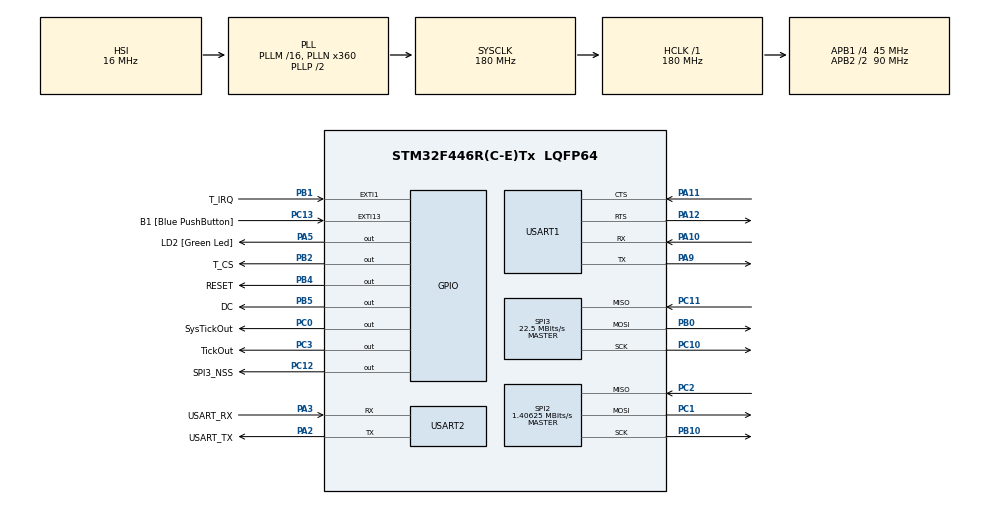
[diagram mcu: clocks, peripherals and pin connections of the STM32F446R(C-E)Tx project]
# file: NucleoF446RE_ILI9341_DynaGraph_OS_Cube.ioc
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Dma.Request0=SPI3_TX
Dma.SPI3_TX.0.Direction=DMA_MEMORY_TO_PERIPH
Dma.SPI3_TX.0.FIFOMode=DMA_FIFOMODE_ENABLE
Dma.SPI3_TX.0.FIFOThreshold=DMA_FIFO_THRESHOLD_FULL
Dma.SPI3_TX.0.Instance=DMA1_Stream5
Dma.SPI3_TX.0.MemBurst=DMA_MBURST_SINGLE
Dma.SPI3_TX.0.MemDataAlignment=DMA_MDATAALIGN_BYTE
Dma.SPI3_TX.0.MemInc=DMA_MINC_ENABLE
Dma.SPI3_TX.0.Mode=DMA_NORMAL
Dma.SPI3_TX.0.PeriphBurst=DMA_PBURST_SINGLE
Dma.SPI3_TX.0.PeriphDataAlignment=DMA_PDATAALIGN_BYTE
Dma.SPI3_TX.0.PeriphInc=DMA_PINC_DISABLE
Dma.SPI3_TX.0.Priority=DMA_PRIORITY_LOW
FREERTOS.CountingSemaphores01=waveSema,1,Dynamic,NULL
FREERTOS.Queues01=waveQueue,3,MSGQUEUE_WAVE_t,0,Dynamic,NULL,NULL
FREERTOS.Tasks01=taskGUI,24,1024,StartTaskGUI,Default,NULL,Dynamic,NULL,NULL;taskEsp32,24,1024,StartTaskEsp32,Default,NULL,Dynamic,NULL,NULL;taskWave,24,256,StartTaskWave,Default,NULL,Dynamic,NULL,NULL
FREERTOS.configUSE_NEWLIB_REENTRANT=1
Mcu.Family=STM32F4
Mcu.Name=STM32F446R(C-E)Tx
Mcu.Package=LQFP64
NVIC.DMA1_Stream5_IRQn=true\:5\:0\:false\:false\:true\:true\:false\:true\:true
NVIC.EXTI15_10_IRQn=true\:5\:0\:false\:false\:true\:true\:true\:true\:true
NVIC.EXTI1_IRQn=true\:5\:0\:false\:false\:true\:true\:true\:true\:true
NVIC.PriorityGroup=NVIC_PRIORITYGROUP_4
NVIC.SPI2_IRQn=true\:5\:0\:false\:false\:true\:true\:true\:true\:true
NVIC.SPI3_IRQn=true\:5\:0\:false\:false\:true\:true\:true\:true\:true
NVIC.TIM1_TRG_COM_TIM11_IRQn=true\:15\:0\:false\:false\:true\:false\:false\:true\:true
NVIC.TIM2_IRQn=true\:5\:0\:false\:false\:true\:true\:true\:true\:true
NVIC.TIM3_IRQn=true\:5\:0\:false\:false\:true\:true\:true\:true\:true
NVIC.TimeBase=TIM1_TRG_COM_TIM11_IRQn
NVIC.TimeBaseIP=TIM11
PA10.Mode=Asynchronous
PA10.Signal=USART1_RX
PA11.Mode=CTS_RTS
PA11.Signal=USART1_CTS
PA12.Mode=CTS_RTS
PA12.Signal=USART1_RTS
PA13.GPIO_Label=TMS
PA13.Signal=SYS_JTMS-SWDIO
PA14.GPIO_Label=TCK
PA14.Signal=SYS_JTCK-SWCLK
PA2.GPIO_Label=USART_TX
PA2.Mode=Asynchronous
PA2.Signal=USART2_TX
PA3.GPIO_Label=USART_RX
PA3.Mode=Asynchronous
PA3.Signal=USART2_RX
PA5.GPIO_Label=LD2 [Green Led]
PA5.Signal=GPIO_Output
PA9.Mode=Asynchronous
PA9.Signal=USART1_TX
PB0.GPIO_PuPd=GPIO_NOPULL
PB0.Mode=Full_Duplex_Master
PB0.Signal=SPI3_MOSI
PB1.GPIO_Label=T_IRQ
PB1.GPIO_ModeDefaultEXTI=GPIO_MODE_IT_FALLING
PB1.Signal=GPXTI1
PB10.GPIO_Mode=GPIO_MODE_AF_PP
PB10.GPIO_PuPd=GPIO_PULLUP
PB10.Mode=Full_Duplex_Master
PB10.Signal=SPI2_SCK
PB2.GPIO_Label=T_CS
PB2.GPIO_ModeDefaultOutputPP=GPIO_MODE_OUTPUT_PP
PB2.GPIO_PuPd=GPIO_NOPULL
PB2.PinState=GPIO_PIN_RESET
PB2.Signal=GPIO_Output
PB3.GPIO_Label=SWO
PB3.Signal=SYS_JTDO-SWO
PB4.GPIO_Label=RESET
PB4.Signal=GPIO_Output
PB5.GPIO_Label=DC
PB5.Signal=GPIO_Output
PC0.GPIO_Label=SysTickOut
PC0.Signal=GPIO_Output
PC1.GPIO_PuPd=GPIO_NOPULL
PC1.Mode=Full_Duplex_Master
PC1.Signal=SPI2_MOSI
PC10.GPIO_PuPd=GPIO_PULLUP
PC10.Mode=Full_Duplex_Master
PC10.Signal=SPI3_SCK
PC11.GPIO_PuPd=GPIO_NOPULL
PC11.Mode=Full_Duplex_Master
PC11.Signal=SPI3_MISO
PC12.GPIO_Label=SPI3_NSS
PC12.Signal=GPIO_Output
PC13.GPIO_Label=B1 [Blue PushButton]
PC13.GPIO_ModeDefaultEXTI=GPIO_MODE_IT_FALLING
PC13.Signal=GPXTI13
PC14-OSC32_IN.Mode=LSE-External-Oscillator
PC14-OSC32_IN.Signal=RCC_OSC32_IN
PC15-OSC32_OUT.Mode=LSE-External-Oscillator
PC15-OSC32_OUT.Signal=RCC_OSC32_OUT
PC2.GPIO_PuPd=GPIO_NOPULL
PC2.Mode=Full_Duplex_Master
PC2.Signal=SPI2_MISO
PC3.GPIO_Label=TickOut
PC3.PinState=GPIO_PIN_RESET
PC3.Signal=GPIO_Output
PH0-OSC_IN.Mode=HSE-External-Oscillator
PH0-OSC_IN.Signal=RCC_OSC_IN
PH1-OSC_OUT.Mode=HSE-External-Oscillator
PH1-OSC_OUT.Signal=RCC_OSC_OUT
ProjectManager.HeapSize=0x200
ProjectManager.StackSize=0x400
ProjectManager.TargetToolchain=STM32CubeIDE
RCC.48MHZClocksFreq_Value=84000000
RCC.AHBFreq_Value=180000000
RCC.APB1CLKDivider=RCC_HCLK_DIV4
RCC.APB1Freq_Value=45000000
RCC.APB1TimFreq_Value=90000000
RCC.APB2CLKDivider=RCC_HCLK_DIV2
RCC.APB2Freq_Value=90000000
RCC.APB2TimFreq_Value=180000000
RCC.CortexFreq_Value=180000000
RCC.FLatency-AdvancedSettings=FLASH_LATENCY_5
RCC.HCLKFreq_Value=180000000
RCC.HSE_VALUE=8000000
RCC.HSI_VALUE=16000000
RCC.PLLN=360
RCC.SYSCLKFreq_VALUE=180000000
RCC.SYSCLKSource=RCC_SYSCLKSOURCE_PLLCLK
RCC.USBFreq_Value=180000000
RCC.VCOOutputFreq_Value=360000000
SPI2.BaudRatePrescaler=SPI_BAUDRATEPRESCALER_32
SPI2.CalculateBaudRate=1.40625 MBits/s
SPI2.Direction=SPI_DIRECTION_2LINES
SPI2.FirstBit=SPI_FIRSTBIT_MSB
SPI2.Mode=SPI_MODE_MASTER
SPI2.VirtualType=VM_MASTER
SPI3.BaudRatePrescaler=SPI_BAUDRATEPRESCALER_2
SPI3.CalculateBaudRate=22.5 MBits/s
SPI3.Direction=SPI_DIRECTION_2LINES
SPI3.Mode=SPI_MODE_MASTER
SPI3.VirtualType=VM_MASTER
STMicroelectronics.X-CUBE-TOUCHGFX.4.20.0.ApplicationCcGraphicsJjApplication=TouchGFXOoGenerator
STMicroelectronics.X-CUBE-TOUCHGFX.4.20.0.tgfx_buffering_strategy=Partial
STMicroelectronics.X-CUBE-TOUCHGFX.4.20.0.tgfx_custom_height=240
STMicroelectronics.X-CUBE-TOUCHGFX.4.20.0.tgfx_custom_width=320
STMicroelectronics.X-CUBE-TOUCHGFX.4.20.0_IsPackSelfContextualization=true
TIM2.Period=45000-1
TIM2.Prescaler=200-1
TIM3.Period=45000-1
TIM3.Prescaler=40-1
USART1.VirtualMode=VM_ASYNC
USART2.VirtualMode=VM_ASYNC
VP_CRC_VS_CRC.Mode=CRC_Activate
VP_FREERTOS_VS_CMSIS_V2.Mode=CMSIS_V2
VP_STMicroelectronics.X-CUBE-TOUCHGFX_VS_GraphicsJjApplication_4.20.0.Mode=GraphicsJjApplication
VP_SYS_VS_tim11.Mode=TIM11
VP_TIM2_VS_ClockSourceINT.Mode=Internal
VP_TIM3_VS_ClockSourceINT.Mode=Internal
board=NUCLEO-F446RE

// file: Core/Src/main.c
/* USER CODE BEGIN Header */
/**
  ******************************************************************************
  * @file           : main.c
  * @brief          : Main program body
  ******************************************************************************
  * @attention
  *
  * Copyright (c) 2022 STMicroelectronics.
  * All rights reserved.
  *
  * This software is licensed under terms that can be found in the LICENSE file
  * in the root directory of this software component.
  * If no LICENSE file comes with this software, it is provided AS-IS.
  *
  ******************************************************************************
  */
/* USER CODE END Header */
#include "main.h"
#include "cmsis_os.h"
#include "app_touchgfx.h"

/* USER CODE BEGIN Includes */
#include <stdio.h>
#include "ili9341.h"
#include "xpt2046.h"
#include "sine.h"

/* USER CODE END Includes */

/* USER CODE BEGIN PD */
#define USE_WAVE_TASK
/* USER CODE END PD */

CRC_HandleTypeDef hcrc;

SPI_HandleTypeDef hspi2;
SPI_HandleTypeDef hspi3;
DMA_HandleTypeDef hdma_spi3_tx;

TIM_HandleTypeDef htim2;
TIM_HandleTypeDef htim3;

UART_HandleTypeDef huart1;
UART_HandleTypeDef huart2;

/* Definitions for taskGUI */
osThreadId_t taskGUIHandle;
const osThreadAttr_t taskGUI_attributes = {
  .name = "taskGUI",
  .stack_size = 1024 * 4,
  .priority = (osPriority_t) osPriorityNormal,
};
/* Definitions for taskEsp32 */
osThreadId_t taskEsp32Handle;
const osThreadAttr_t taskEsp32_attributes = {
  .name = "taskEsp32",
  .stack_size = 1024 * 4,
  .priority = (osPriority_t) osPriorityNormal,
};
/* Definitions for taskWave */
osThreadId_t taskWaveHandle;
const osThreadAttr_t taskWave_attributes = {
  .name = "taskWave",
  .stack_size = 256 * 4,
  .priority = (osPriority_t) osPriorityNormal,
};
/* Definitions for waveQueue */
osMessageQueueId_t waveQueueHandle;
const osMessageQueueAttr_t waveQueue_attributes = {
  .name = "waveQueue"
};
/* Definitions for waveSema */
osSemaphoreId_t waveSemaHandle;
const osSemaphoreAttr_t waveSema_attributes = {
  .name = "waveSema"
};

void SystemClock_Config(void);
static void MX_GPIO_Init(void);
static void MX_DMA_Init(void);
static void MX_CRC_Init(void);
static void MX_SPI2_Init(void);
static void MX_SPI3_Init(void);
static void MX_TIM2_Init(void);
static void MX_USART2_UART_Init(void);
static void MX_TIM3_Init(void);
static void MX_USART1_UART_Init(void);
void StartTaskGUI(void *argument);
void StartTaskEsp32(void *argument);
void StartTaskWave(void *argument);

/* USER CODE BEGIN PFP */
int _write(int file, char *ptr, int len);
int _read(int file, char *ptr, int len);
int _writex(UART_HandleTypeDef *huart, uint8_t *ptr, int len);
int _readx(UART_HandleTypeDef *huart, uint8_t *ptr, int len);
/* USER CODE END PFP */

int main(void)
{

  /* MCU Configuration--------------------------------------------------------*/

  /* Reset of all peripherals, Initializes the Flash interface and the Systick. */
  HAL_Init();

  /* Configure the system clock */
  SystemClock_Config();

  /* Initialize all configured peripherals */
  MX_GPIO_Init();
  MX_DMA_Init();
  MX_CRC_Init();
  MX_SPI2_Init();
  MX_SPI3_Init();
  MX_TIM2_Init();
  MX_USART2_UART_Init();
  MX_TIM3_Init();
  MX_USART1_UART_Init();
  MX_TouchGFX_Init();
  /* Call PreOsInit function */
  MX_TouchGFX_PreOSInit();
  /* USER CODE BEGIN 2 */
  HAL_TIM_Base_Start_IT(&htim2);
  HAL_TIM_Base_Start_IT(&htim3);
  /* USER CODE END 2 */

  /* Init scheduler */
  osKernelInitialize();

  /* Create the semaphores(s) */
  /* creation of waveSema */
  waveSemaHandle = osSemaphoreNew(1, 1, &waveSema_attributes);

  /* Create the queue(s) */
  /* creation of waveQueue */
  waveQueueHandle = osMessageQueueNew (3, sizeof(MSGQUEUE_WAVE_t), &waveQueue_attributes);

  /* USER CODE BEGIN RTOS_QUEUES */
  /* add queues, ... */
//  waveQueueHandle = osMessageQueueNew (1, sizeof(MSGQUEUE_WAVE_t), &waveQueue_attributes);
  /* USER CODE END RTOS_QUEUES */

  /* Create the thread(s) */
  /* creation of taskGUI */
  taskGUIHandle = osThreadNew(StartTaskGUI, NULL, &taskGUI_attributes);

  /* creation of taskEsp32 */
  taskEsp32Handle = osThreadNew(StartTaskEsp32, NULL, &taskEsp32_attributes);

  /* creation of taskWave */
  taskWaveHandle = osThreadNew(StartTaskWave, NULL, &taskWave_attributes);

  /* Start scheduler */
  osKernelStart();

  /* We should never get here as control is now taken by the scheduler */
  /* Infinite loop */
  while (1)
  {

  }
}

void SystemClock_Config(void)
{
  RCC_OscInitTypeDef RCC_OscInitStruct = {0};
  RCC_ClkInitTypeDef RCC_ClkInitStruct = {0};

  /** Configure the main internal regulator output voltage
  */
  __HAL_RCC_PWR_CLK_ENABLE();
  __HAL_PWR_VOLTAGESCALING_CONFIG(PWR_REGULATOR_VOLTAGE_SCALE1);

  /** Initializes the RCC Oscillators according to the specified parameters
  * in the RCC_OscInitTypeDef structure.
  */
  RCC_OscInitStruct.OscillatorType = RCC_OSCILLATORTYPE_HSI;
  RCC_OscInitStruct.HSIState = RCC_HSI_ON;
  RCC_OscInitStruct.HSICalibrationValue = RCC_HSICALIBRATION_DEFAULT;
  RCC_OscInitStruct.PLL.PLLState = RCC_PLL_ON;
  RCC_OscInitStruct.PLL.PLLSource = RCC_PLLSOURCE_HSI;
  RCC_OscInitStruct.PLL.PLLM = 16;
  RCC_OscInitStruct.PLL.PLLN = 360;
  RCC_OscInitStruct.PLL.PLLP = RCC_PLLP_DIV2;
  RCC_OscInitStruct.PLL.PLLQ = 2;
  RCC_OscInitStruct.PLL.PLLR = 2;
  if (HAL_RCC_OscConfig(&RCC_OscInitStruct) != HAL_OK)
  {
    Error_Handler();
  }

  /** Activate the Over-Drive mode
  */
  if (HAL_PWREx_EnableOverDrive() != HAL_OK)
  {
    Error_Handler();
  }

  /** Initializes the CPU, AHB and APB buses clocks
  */
  RCC_ClkInitStruct.ClockType = RCC_CLOCKTYPE_HCLK|RCC_CLOCKTYPE_SYSCLK
                              |RCC_CLOCKTYPE_PCLK1|RCC_CLOCKTYPE_PCLK2;
  RCC_ClkInitStruct.SYSCLKSource = RCC_SYSCLKSOURCE_PLLCLK;
  RCC_ClkInitStruct.AHBCLKDivider = RCC_SYSCLK_DIV1;
  RCC_ClkInitStruct.APB1CLKDivider = RCC_HCLK_DIV4;
  RCC_ClkInitStruct.APB2CLKDivider = RCC_HCLK_DIV2;

  if (HAL_RCC_ClockConfig(&RCC_ClkInitStruct, FLASH_LATENCY_5) != HAL_OK)
  {
    Error_Handler();
  }
}

static void MX_CRC_Init(void)
{

  hcrc.Instance = CRC;
  if (HAL_CRC_Init(&hcrc) != HAL_OK)
  {
    Error_Handler();
  }

}

static void MX_SPI2_Init(void)
{

  /* SPI2 parameter configuration*/
  hspi2.Instance = SPI2;
  hspi2.Init.Mode = SPI_MODE_MASTER;
  hspi2.Init.Direction = SPI_DIRECTION_2LINES;
  hspi2.Init.DataSize = SPI_DATASIZE_8BIT;
  hspi2.Init.CLKPolarity = SPI_POLARITY_LOW;
  hspi2.Init.CLKPhase = SPI_PHASE_1EDGE;
  hspi2.Init.NSS = SPI_NSS_SOFT;
  hspi2.Init.BaudRatePrescaler = SPI_BAUDRATEPRESCALER_32;
  hspi2.Init.FirstBit = SPI_FIRSTBIT_MSB;
  hspi2.Init.TIMode = SPI_TIMODE_DISABLE;
  hspi2.Init.CRCCalculation = SPI_CRCCALCULATION_DISABLE;
  hspi2.Init.CRCPolynomial = 10;
  if (HAL_SPI_Init(&hspi2) != HAL_OK)
  {
    Error_Handler();
  }

}

static void MX_SPI3_Init(void)
{

  /* SPI3 parameter configuration*/
  hspi3.Instance = SPI3;
  hspi3.Init.Mode = SPI_MODE_MASTER;
  hspi3.Init.Direction = SPI_DIRECTION_2LINES;
  hspi3.Init.DataSize = SPI_DATASIZE_8BIT;
  hspi3.Init.CLKPolarity = SPI_POLARITY_LOW;
  hspi3.Init.CLKPhase = SPI_PHASE_1EDGE;
  hspi3.Init.NSS = SPI_NSS_SOFT;
  hspi3.Init.BaudRatePrescaler = SPI_BAUDRATEPRESCALER_2;
  hspi3.Init.FirstBit = SPI_FIRSTBIT_MSB;
  hspi3.Init.TIMode = SPI_TIMODE_DISABLE;
  hspi3.Init.CRCCalculation = SPI_CRCCALCULATION_DISABLE;
  hspi3.Init.CRCPolynomial = 10;
  if (HAL_SPI_Init(&hspi3) != HAL_OK)
  {
    Error_Handler();
  }

}

static void MX_TIM2_Init(void)
{

  TIM_ClockConfigTypeDef sClockSourceConfig = {0};
  TIM_MasterConfigTypeDef sMasterConfig = {0};

  htim2.Instance = TIM2;
  htim2.Init.Prescaler = 200-1;
  htim2.Init.CounterMode = TIM_COUNTERMODE_UP;
  htim2.Init.Period = 45000-1;
  htim2.Init.ClockDivision = TIM_CLOCKDIVISION_DIV1;
  htim2.Init.AutoReloadPreload = TIM_AUTORELOAD_PRELOAD_DISABLE;
  if (HAL_TIM_Base_Init(&htim2) != HAL_OK)
  {
    Error_Handler();
  }
  sClockSourceConfig.ClockSource = TIM_CLOCKSOURCE_INTERNAL;
  if (HAL_TIM_ConfigClockSource(&htim2, &sClockSourceConfig) != HAL_OK)
  {
    Error_Handler();
  }
  sMasterConfig.MasterOutputTrigger = TIM_TRGO_RESET;
  sMasterConfig.MasterSlaveMode = TIM_MASTERSLAVEMODE_DISABLE;
  if (HAL_TIMEx_MasterConfigSynchronization(&htim2, &sMasterConfig) != HAL_OK)
  {
    Error_Handler();
  }

}

static void MX_TIM3_Init(void)
{

  TIM_ClockConfigTypeDef sClockSourceConfig = {0};
  TIM_MasterConfigTypeDef sMasterConfig = {0};

  htim3.Instance = TIM3;
  htim3.Init.Prescaler = 40-1;
  htim3.Init.CounterMode = TIM_COUNTERMODE_UP;
  htim3.Init.Period = 45000-1;
  htim3.Init.ClockDivision = TIM_CLOCKDIVISION_DIV1;
  htim3.Init.AutoReloadPreload = TIM_AUTORELOAD_PRELOAD_DISABLE;
  if (HAL_TIM_Base_Init(&htim3) != HAL_OK)
  {
    Error_Handler();
  }
  sClockSourceConfig.ClockSource = TIM_CLOCKSOURCE_INTERNAL;
  if (HAL_TIM_ConfigClockSource(&htim3, &sClockSourceConfig) != HAL_OK)
  {
    Error_Handler();
  }
  sMasterConfig.MasterOutputTrigger = TIM_TRGO_RESET;
  sMasterConfig.MasterSlaveMode = TIM_MASTERSLAVEMODE_DISABLE;
  if (HAL_TIMEx_MasterConfigSynchronization(&htim3, &sMasterConfig) != HAL_OK)
  {
    Error_Handler();
  }

}

static void MX_USART1_UART_Init(void)
{

  huart1.Instance = USART1;
  huart1.Init.BaudRate = 115200;
  huart1.Init.WordLength = UART_WORDLENGTH_8B;
  huart1.Init.StopBits = UART_STOPBITS_1;
  huart1.Init.Parity = UART_PARITY_NONE;
  huart1.Init.Mode = UART_MODE_TX_RX;
  huart1.Init.HwFlowCtl = UART_HWCONTROL_RTS_CTS;
  huart1.Init.OverSampling = UART_OVERSAMPLING_16;
  if (HAL_UART_Init(&huart1) != HAL_OK)
  {
    Error_Handler();
  }

}

static void MX_USART2_UART_Init(void)
{

  huart2.Instance = USART2;
  huart2.Init.BaudRate = 115200;
  huart2.Init.WordLength = UART_WORDLENGTH_8B;
  huart2.Init.StopBits = UART_STOPBITS_1;
  huart2.Init.Parity = UART_PARITY_NONE;
  huart2.Init.Mode = UART_MODE_TX_RX;
  huart2.Init.HwFlowCtl = UART_HWCONTROL_NONE;
  huart2.Init.OverSampling = UART_OVERSAMPLING_16;
  if (HAL_UART_Init(&huart2) != HAL_OK)
  {
    Error_Handler();
  }

}

static void MX_DMA_Init(void)
{

  /* DMA controller clock enable */
  __HAL_RCC_DMA1_CLK_ENABLE();

  /* DMA interrupt init */
  /* DMA1_Stream5_IRQn interrupt configuration */
  HAL_NVIC_SetPriority(DMA1_Stream5_IRQn, 5, 0);
  HAL_NVIC_EnableIRQ(DMA1_Stream5_IRQn);

}

static void MX_GPIO_Init(void)
{
  GPIO_InitTypeDef GPIO_InitStruct = {0};

  /* GPIO Ports Clock Enable */
  __HAL_RCC_GPIOC_CLK_ENABLE();
  __HAL_RCC_GPIOH_CLK_ENABLE();
  __HAL_RCC_GPIOA_CLK_ENABLE();
  __HAL_RCC_GPIOB_CLK_ENABLE();

  /*Configure GPIO pin Output Level */
  HAL_GPIO_WritePin(GPIOC, SysTickOut_Pin|TickOut_Pin|SPI3_NSS_Pin, GPIO_PIN_RESET);

  /*Configure GPIO pin Output Level */
  HAL_GPIO_WritePin(LD2_GPIO_Port, LD2_Pin, GPIO_PIN_RESET);

  /*Configure GPIO pin Output Level */
  HAL_GPIO_WritePin(GPIOB, T_CS_Pin|RESET_Pin|DC_Pin, GPIO_PIN_RESET);

  /*Configure GPIO pin : B1_Pin */
  GPIO_InitStruct.Pin = B1_Pin;
  GPIO_InitStruct.Mode = GPIO_MODE_IT_FALLING;
  GPIO_InitStruct.Pull = GPIO_NOPULL;
  HAL_GPIO_Init(B1_GPIO_Port, &GPIO_InitStruct);

  /*Configure GPIO pins : SysTickOut_Pin TickOut_Pin SPI3_NSS_Pin */
  GPIO_InitStruct.Pin = SysTickOut_Pin|TickOut_Pin|SPI3_NSS_Pin;
  GPIO_InitStruct.Mode = GPIO_MODE_OUTPUT_PP;
  GPIO_InitStruct.Pull = GPIO_NOPULL;
  GPIO_InitStruct.Speed = GPIO_SPEED_FREQ_LOW;
  HAL_GPIO_Init(GPIOC, &GPIO_InitStruct);

  /*Configure GPIO pin : LD2_Pin */
  GPIO_InitStruct.Pin = LD2_Pin;
  GPIO_InitStruct.Mode = GPIO_MODE_OUTPUT_PP;
  GPIO_InitStruct.Pull = GPIO_NOPULL;
  GPIO_InitStruct.Speed = GPIO_SPEED_FREQ_LOW;
  HAL_GPIO_Init(LD2_GPIO_Port, &GPIO_InitStruct);

  /*Configure GPIO pin : T_IRQ_Pin */
  GPIO_InitStruct.Pin = T_IRQ_Pin;
  GPIO_InitStruct.Mode = GPIO_MODE_IT_FALLING;
  GPIO_InitStruct.Pull = GPIO_NOPULL;
  HAL_GPIO_Init(T_IRQ_GPIO_Port, &GPIO_InitStruct);

  /*Configure GPIO pins : T_CS_Pin RESET_Pin DC_Pin */
  GPIO_InitStruct.Pin = T_CS_Pin|RESET_Pin|DC_Pin;
  GPIO_InitStruct.Mode = GPIO_MODE_OUTPUT_PP;
  GPIO_InitStruct.Pull = GPIO_NOPULL;
  GPIO_InitStruct.Speed = GPIO_SPEED_FREQ_LOW;
  HAL_GPIO_Init(GPIOB, &GPIO_InitStruct);

  /* EXTI interrupt init*/
  HAL_NVIC_SetPriority(EXTI1_IRQn, 5, 0);
  HAL_NVIC_EnableIRQ(EXTI1_IRQn);

  HAL_NVIC_SetPriority(EXTI15_10_IRQn, 5, 0);
  HAL_NVIC_EnableIRQ(EXTI15_10_IRQn);

}

/* USER CODE BEGIN 4 */
void __io_putchar(uint8_t ch)
{
  while(HAL_UART_Transmit(&huart2, &ch, 1, 10) == HAL_BUSY)
    osDelay(10);
}

int __io_getchar(void)
{
  HAL_StatusTypeDef Status = HAL_BUSY;
  uint8_t Data;

  while(Status != HAL_OK){
    Status = HAL_UART_Receive(&huart2, &Data, 1, 10);
    osDelay(10);
  }
  return Data;
}

int _writex(UART_HandleTypeDef *huart, uint8_t *ptr, int len)
{
  if(HAL_UART_Transmit(huart, (uint8_t *)ptr, len, 1) != HAL_OK)    // Needs 1msec timeout, otherwise consecutive data is not sent.
    return 0;
  else
    return len;
}

int _readx(UART_HandleTypeDef *huart, uint8_t *ptr, int len)
{
  if(HAL_UART_Receive(huart, (uint8_t *)ptr, len, 0) == HAL_OK)
    return len;
  else
    return 0;
}

/* USER CODE END 4 */

void StartTaskGUI(void *argument)
{
  /* USER CODE BEGIN 5 */
  ILI9341_Init();
  XPT2046_Init();
#ifndef USE_WAVE_TASK
  initSin();
#endif
  MX_TouchGFX_Process();

  /* Infinite loop */
  for(;;)
  {
    osDelay(1);
  }
  /* USER CODE END 5 */
}

void StartTaskEsp32(void *argument)
{
  /* USER CODE BEGIN StartTaskEsp32 */
  /* Infinite loop */
  extern int esp32_init(void);
  extern int esp32_echo(void);
  extern int server_init(void);
  extern void dispatch_server(void);

  while(!esp32_init()){
    printf("[ESP32]: Failed to init esp32\n");
  }

  while(!server_init()){
    printf("[Server]: Failed to start server\n");
  }

  uint8_t c;
  if(_readx(&huart2, &c, 1) && c==0x03)       // CTRL^C
    goto echo;
  else
    dispatch_server();

echo:
  esp32_echo();
  printf("[Echo mode]: Now it is ESP32 echo mode\n");
  for(;;)
  {
    uint8_t c;
    while(1){
      if(_readx(&huart1, &c, 1)){
        _writex(&huart2, &c, 1);
      } else
        break;
    }

    if(_readx(&huart2, &c, 1)){
      _writex(&huart1, &c, 1);
    }
//    osDelay(1);
  }
  /* USER CODE END StartTaskEsp32 */
}

void StartTaskWave(void *argument)
{
  /* USER CODE BEGIN StartTaskWave */

  /* Infinite loop */
#ifdef USE_WAVE_TASK
  osSemaphoreAcquire(waveSemaHandle, osWaitForever);
  initSin();
#endif
  for(;;)
  {
#ifdef USE_WAVE_TASK
    if(osSemaphoreAcquire(waveSemaHandle, osWaitForever) == osOK)
      generateSin();
#endif
    osDelay(1);
  }
  /* USER CODE END StartTaskWave */
}

void HAL_TIM_PeriodElapsedCallback(TIM_HandleTypeDef *htim)
{
  if (htim->Instance == TIM11) {
    HAL_IncTick();
  }
  /* USER CODE BEGIN Callback 1 */
  extern void touchgfxSignalVSync(void);
  if (htim->Instance == TIM2) {
    touchgfxSignalVSync();
  }

  if (htim->Instance == TIM3) {
//    HAL_GPIO_TogglePin(GPIOC, SysTickOut_Pin);
#ifdef USE_WAVE_TASK
    osSemaphoreRelease(waveSemaHandle);
#else
    generateSin();
#endif
  }

  /* USER CODE END Callback 1 */
}

void Error_Handler(void)
{
  __disable_irq();
  while (1)
  {
  }
}
